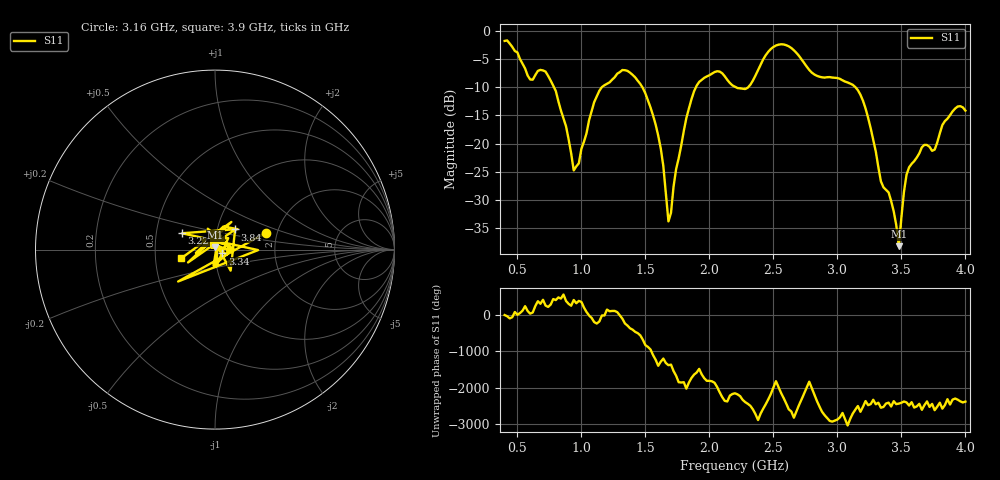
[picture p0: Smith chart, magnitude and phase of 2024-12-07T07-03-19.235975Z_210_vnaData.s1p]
!Created with skrf (http://scikit-rf.org).
# Hz S RI R 50.0
!freq ReS11 ImS11
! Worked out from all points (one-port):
!   181 points, 400 MHz to 4 GHz, reference 50 ohm
!   lowest |S11| = -38.3 dB at 3.48 GHz (marker M1), VSWR 1.02, Z = 50.1 + j1.22 ohm
!   |S11| at or under -10 dB: 786.2 MHz to 1.159 GHz (372.3 MHz wide, 38.3 % of centre); 1.477 GHz to 1.894 GHz (417.3 MHz wide, 24.8 % of centre); 3.142 GHz to end of sweep (the widest 3 of 4)
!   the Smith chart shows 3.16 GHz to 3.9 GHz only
!   S11 on the Smith chart (normalised r, x): 3.16 GHz: 1.74, +0.36; 3.22 GHz: 0.68, +0.13; 3.34 GHz: 1.08, -0.05; 3.84 GHz: 1.22, +0.28; 3.9 GHz: 0.68, -0.07
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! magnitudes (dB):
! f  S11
! 400 MHz  -1.7
! 600 MHz  -8.6
! 720 MHz  -7.2
! 860 MHz  -15.5
! 940 MHz  -24.8
! 1.14 GHz  -10.6
! 1.3 GHz  -7.3
! 1.54 GHz  -13.6
! 1.62 GHz  -20.9
! 1.68 GHz  -33.9
! 1.76 GHz  -22.6
! 1.92 GHz  -9.0
! 2.2 GHz  -9.9
! 2.3 GHz  -10.0
! 2.5 GHz  -2.8
! 2.66 GHz  -3.4
! 3.1 GHz  -9.3
! 3.16 GHz  -10.5
! 3.22 GHz  -13.8
! 3.34 GHz  -26.7
! 3.42 GHz  -30.2
! 3.48 GHz  -38.3
! 3.52 GHz  -28.6
! 3.56 GHz  -24.2
! 3.76 GHz  -21.1
! 3.84 GHz  -16.0
! 3.9 GHz  -14.3
! 4 GHz  -14.1
